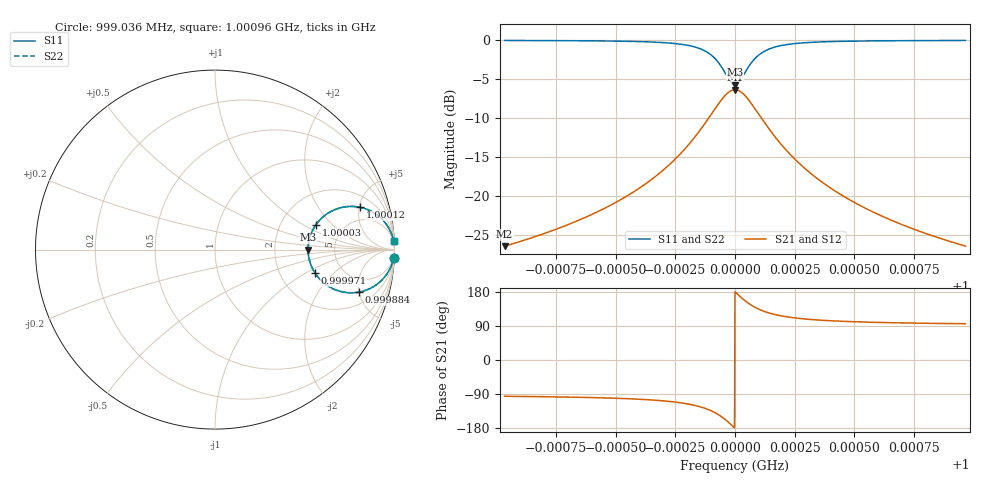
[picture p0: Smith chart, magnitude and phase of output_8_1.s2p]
! File generated for n1 = 8, n2 = 1
! b1 = 0.464159
! b2 = 0.464159
! Q0 = 10000.000000
! f0 = 1000000000.000000
! n = 1001
! rel_span = 10.000000
# Hz S RI R 50
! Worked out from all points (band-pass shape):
!   1001 points, 999.036 MHz to 1.00096 GHz, reference 50 ohm
!   highest |S21| = -6.35 dB at 1 GHz (marker M1); lowest = -26.4 dB at 999.036 MHz (marker M2)
!   |S21| within 3 dB of the highest: 999.9038 MHz to 1.000096 GHz (192.4 kHz wide, 0.0192 % of centre)
!   lowest |S11| = -5.7 dB at 1 GHz (marker M3), VSWR 3.15, Z = 158 + j0 ohm
!   |S11| at or under -10 dB: nowhere
!   |S22| runs from -5.7 to 0.0 dB; largest |S21 - S12| = 0
!   S11 on the Smith chart (normalised r, x): 999.036 MHz: 3, -42; 999.884 MHz: 3.15, -4.99; 999.971 MHz: 3.15, -1.25; 1.00003 GHz: 3.15, +1.33; 1.00012 GHz: 3.15, +5.07; 1.00096 GHz: 3, +42
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9.990358e8  0.9952 -0.0476  -0.00476 -0.0476  -0.00476 -0.0476  0.9952 -0.0476
9.993579e8  0.9894 -0.0707  -0.0106 -0.0707  -0.0106 -0.0707  0.9894 -0.0707
9.995353e8  0.9801 -0.0957  -0.0199 -0.0957  -0.0199 -0.0957  0.9801 -0.0957
9.996799e8  0.96 -0.1329  -0.04 -0.1329  -0.04 -0.1329  0.96 -0.1329
9.998033e8  0.9067 -0.1903  -0.0933 -0.1903  -0.0933 -0.1903  0.9067 -0.1903
9.998477e8  0.8623 -0.2175  -0.1377 -0.2175  -0.1377 -0.2175  0.8623 -0.2175
9.998843e8  0.8027 -0.2368  -0.1973 -0.2368  -0.1973 -0.2368  0.8027 -0.2368
9.999325e8  0.6769 -0.2262  -0.3231 -0.2262  -0.3231 -0.2262  0.6769 -0.2262
9.999518e8  0.6149 -0.1926  -0.3851 -0.1926  -0.3851 -0.1926  0.6149 -0.1926
9.999711e8  0.5583 -0.1325  -0.4417 -0.1325  -0.4417 -0.1325  0.5583 -0.1325
1e9  0.5186 0  -0.4814 0  -0.4814 0  0.5186 0
1.000015e9  0.5306 0.0751  -0.4694 0.0751  -0.4694 0.0751  0.5306 0.0751
1.000031e9  0.5633 0.1397  -0.4367 0.1397  -0.4367 0.1397  0.5633 0.1397
1.000048e9  0.6149 0.1926  -0.3851 0.1926  -0.3851 0.1926  0.6149 0.1926
1.000067e9  0.6769 0.2262  -0.3231 0.2262  -0.3231 0.2262  0.6769 0.2262
1.000118e9  0.8065 0.236  -0.1935 0.236  -0.1935 0.236  0.8065 0.236
1.000154e9  0.8648 0.2164  -0.1352 0.2164  -0.1352 0.2164  0.8648 0.2164
1.000199e9  0.9082 0.1891  -0.0918 0.1891  -0.0918 0.1891  0.9082 0.1891
1.000322e9  0.9604 0.1323  -0.0396 0.1323  -0.0396 0.1323  0.9604 0.1323
1.000467e9  0.9803 0.0954  -0.0197 0.0954  -0.0197 0.0954  0.9803 0.0954
1.000644e9  0.9894 0.0705  -0.0106 0.0705  -0.0106 0.0705  0.9894 0.0705
1.000964e9  0.9952 0.0477  -0.00477 0.0477  -0.00477 0.0477  0.9952 0.0477
